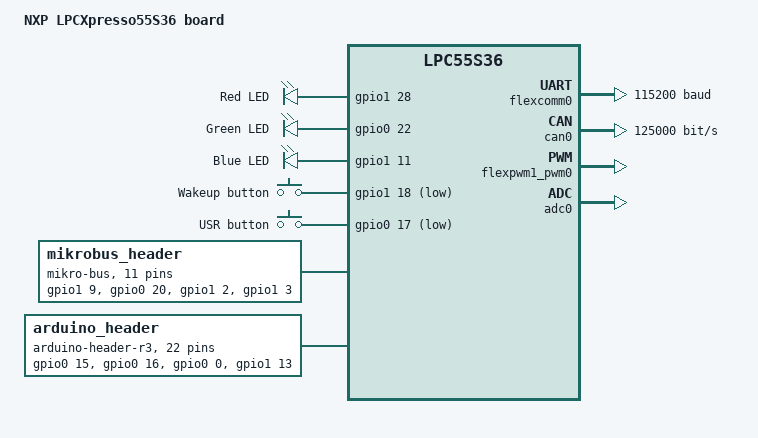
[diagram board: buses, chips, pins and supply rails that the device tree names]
/*
 * Copyright 2022-2023 NXP
 *
 * SPDX-License-Identifier: Apache-2.0
 */

/dts-v1/;

#include <nxp/nxp_lpc55S36_ns.dtsi>
#include "lpcxpresso55s36-pinctrl.dtsi"

/ {
	model = "NXP LPCXpresso55S36 board";
	compatible = "nxp,lpc55xxx", "nxp,lpc";

	chosen {
		zephyr,sram = &sram0;
		zephyr,flash = &flash0;
		zephyr,code-partition = &sramx;
		zephyr,console = &flexcomm0;
		zephyr,shell-uart = &flexcomm0;
		zephyr,canbus = &can0;
		zephyr,flash-controller = &iap;
	};

	aliases{
		led0 = &red_led;
		led1 = &green_led;
		led2 = &blue_led;
		sw0 = &btn_wk;
		sw1 = &btn_usr;
		usart-0 = &flexcomm0;
		pwm-0 = &flexpwm1_pwm0;
	};

	leds {
		compatible = "gpio-leds";
		red_led: led_0 {
			gpios = <&gpio1 28 0>;
			label = "Red LED";
		};
		green_led: led_1 {
			gpios = <&gpio0 22 0>;
			label = "Green LED";
		};
		blue_led: led_2 {
			gpios = <&gpio1 11 0>;
			label = "Blue LED";
		};
	};

	gpio_keys {
		compatible = "gpio-keys";
		btn_wk: button_0 {
			label = "Wakeup button";
			gpios = <&gpio1 18 GPIO_ACTIVE_LOW>;
		};
		btn_usr: button_1 {
			label = "USR button";
			gpios = <&gpio0 17 GPIO_ACTIVE_LOW>;
		};
	};

	mikrobus_header: mikrobus-connector {
		compatible = "mikro-bus";
		#gpio-cells = <2>;
		gpio-map-mask = <0xffffffff 0xffffffc0>;
		gpio-map-pass-thru = <0 0x3f>;
		gpio-map =	<0 0 &gpio1 9 0>,	/* AN  */
				/* Not a GPIO*/		/* RST */
				<2 0 &gpio0 20 0>,	/* CS   */
				<3 0 &gpio1 2 0>,	/* SCK  */
				<4 0 &gpio1 3 0>,	/* MISO */
				<5 0 &gpio0 26 0>,	/* MOSI */
							/* +3.3V */
							/* GND */
				<6 0 &gpio1 8 0>,	/* PWM  */
				<7 0 &gpio0 17 0>,	/* INT  */
				<8 0 &gpio1 24 0>,	/* RX   */
				<9 0 &gpio1 25 0>,	/* TX   */
				<10 0 &gpio1 30 0>,	/* SCL  */
				<11 0 &gpio1 21 0>;	/* SDA  */
							/* +5V */
							/* GND */
	};

	arduino_header: arduino-connector {
		compatible = "arduino-header-r3";
		#gpio-cells = <2>;
		gpio-map-mask = <0xffffffff 0xffffffc0>;
		gpio-map-pass-thru = <0 0x3f>;
		gpio-map =	<0 0 &gpio0 15 0>,	/* A0 */
				<1 0 &gpio0 16 0>,	/* A1 */
				<2 0 &gpio0 0 0>,	/* A2 */
				<3 0 &gpio1 13 0>,	/* A3 */
				<4 0 &gpio1 21 0>,	/* A4 */
				<5 0 &gpio1 30 0>,	/* A5 */
				<6 0 &gpio2 0 0>,	/* D0 */
				<7 0 &gpio2 1 0>,	/* D1 */
				<8 0 &gpio1 26 0>,	/* D2 */
				<9 0 &gpio1 23 0>,	/* D3 */
				<10 0 &gpio1 8 0>,	/* D4 */
				<11 0 &gpio1 25 0>,	/* D5 */
				<12 0 &gpio1 0 0>,	/* D6 */
				<13 0 &gpio1 28 0>,	/* D7 */
				<14 0 &gpio1 27 0>,	/* D8 */
				<15 0 &gpio1 29 0>,	/* D9 */
				<16 0 &gpio1 26 0>,	/* D10 */
				<17 0 &gpio0 26 0>,	/* D11 */
				<18 0 &gpio1 3 0>,	/* D12 */
				<19 0 &gpio1 2 0>,	/* D13 */
				<20 0 &gpio0 3 0>,	/* D14 */
				<21 0 &gpio0 2 0>;	/* D15 */
	};
};

&flexcomm0 {
	status = "okay";
	compatible = "nxp,lpc-usart";
	current-speed = <115200>;
	pinctrl-0 = <&pinmux_flexcomm0_usart>;
	pinctrl-names = "default";
};

&can0 {
	bus-speed = <125000>;
	bus-speed-data = <1000000>;
	pinctrl-0 = <&pinmux_mcan_can0>;
	pinctrl-names = "default";
	status = "ok";
};

&flash0 {
	partitions {
		compatible = "fixed-partitions";
		#address-cells = <1>;
		#size-cells = <1>;
		slot0_partition: partition@0 {
			label = "executable";
				reg = <0x00000000 DT_SIZE_K(182)>;
			};

		storage_partition: partition@88000 {
			label = "storage";
			reg = <0x0002d800 DT_SIZE_K(64)>;
		};
	};
};

&flexpwm1_pwm0 {
	status = "okay";
	pinctrl-0 = <&pinmux_flexpwm1_pwm0>;
	pinctrl-names = "default";
};

&adc0 {
	status = "okay";
	pinctrl-0 = <&pinmux_lpadc0>;
	pinctrl-names = "default";
};

